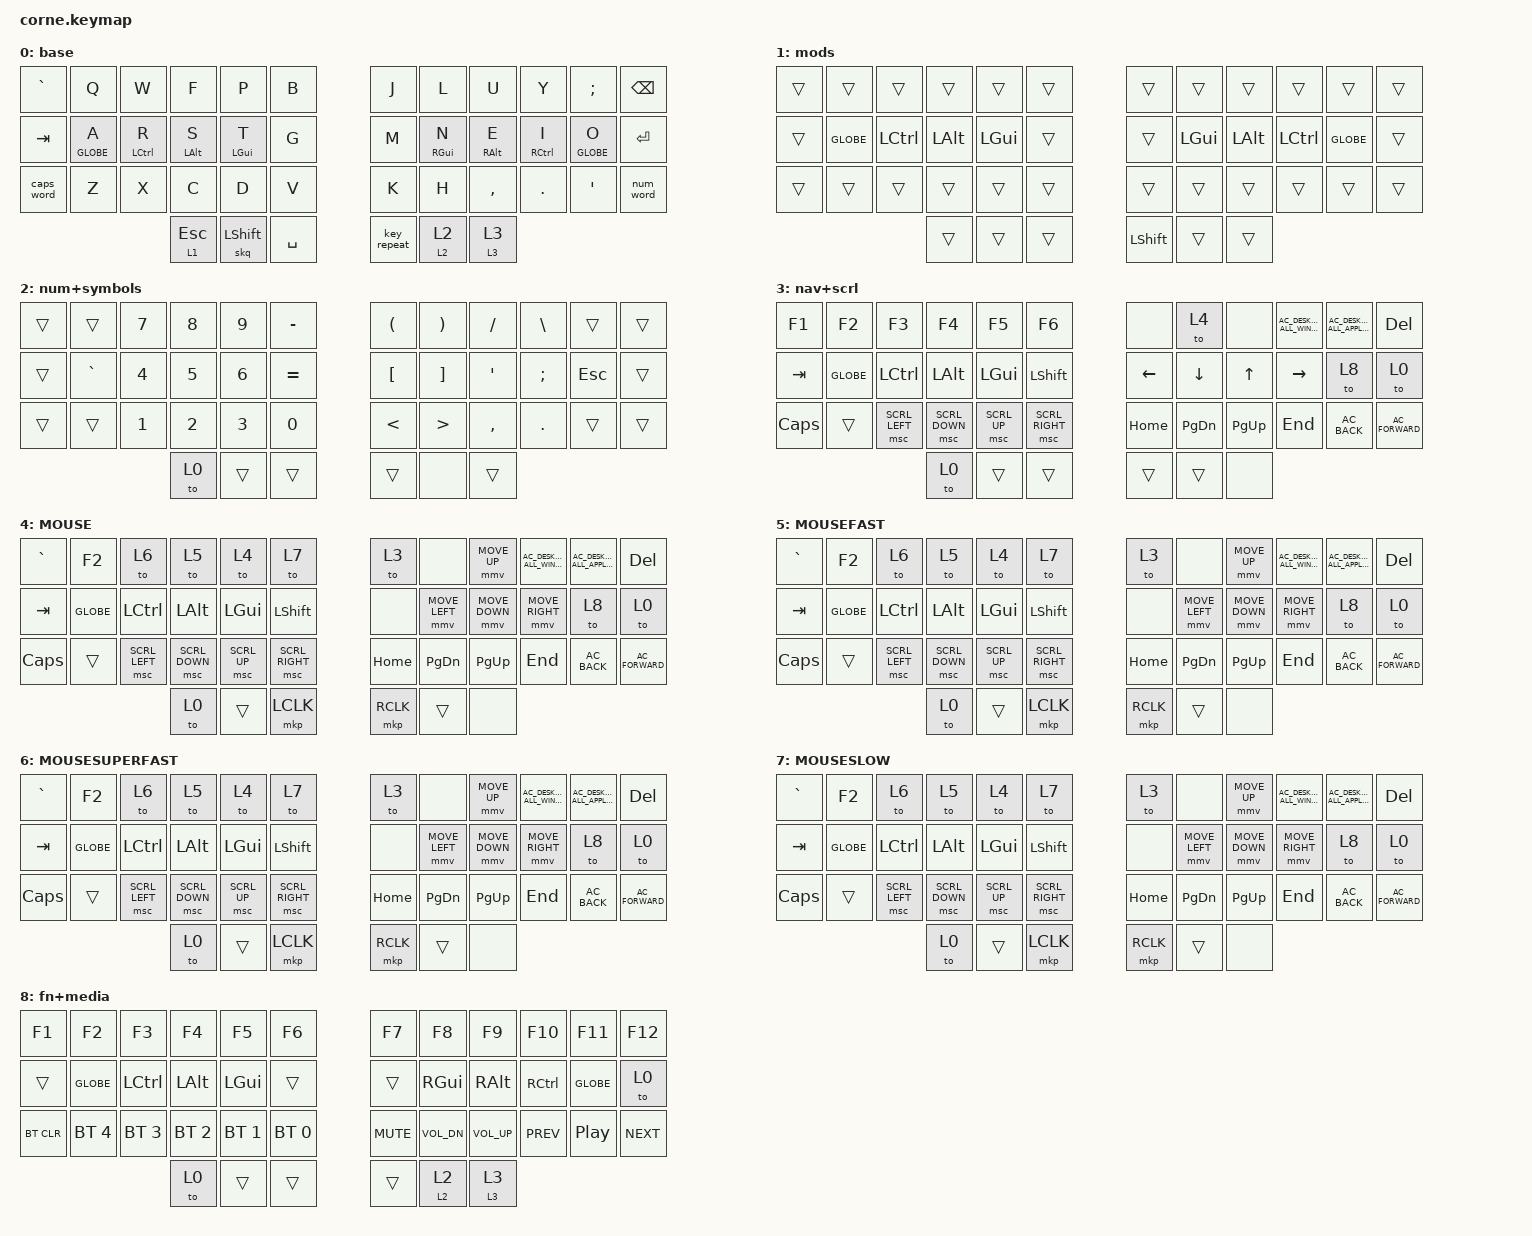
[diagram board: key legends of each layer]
/*
 * Copyright (c) 2020 The ZMK Contributors
 *
 * SPDX-License-Identifier: MIT
 */

#define ZMK_POINTING_DEFAULT_MOVE_VAL 1800
#define ZMK_POINTING_DEFAULT_SCRL_VAL 20

#include <input/processors.dtsi>
#include <behaviors.dtsi>
#include <behaviors/num_word.dtsi>
#include <dt-bindings/zmk/bt.h>
#include <dt-bindings/zmk/keys.h>
#include <dt-bindings/zmk/pointing.h>

#define MOUSE 4
#define MOUSEFAST 5
#define MOUSESUPERFAST 6
#define MOUSESLOW 7

// dt-formatter: indent = "  "
// dt-formatter: reindentMultilineIntegerCells = "dedent"

&mmv { acceleration-exponent = <0>; };

&mmv_input_listener {
  set_mouse_fast {
    layers = <MOUSEFAST>;
    input-processors = <&zip_xy_scaler 2 1>;
  };
};

&mmv_input_listener {
  set_mouse_super_fast {
    layers = <MOUSESUPERFAST>;
    input-processors = <&zip_xy_scaler 4 1>;
  };
};

&mmv_input_listener {
  set_mouse_slow {
    layers = <MOUSESLOW>;
    input-processors = <&zip_xy_scaler 1 2>;
  };
};

&num_word {
  continue-list = <BSPC DEL DOT COMMA LEFT DOWN UP RIGHT MINUS EQUAL LSHIFT LEFT_PARENTHESIS RIGHT_PARENTHESIS>;
};

/ {
  behaviors {
    hm: homerow_mods {
      compatible = "zmk,behavior-hold-tap";
      label = "HOMEROW_MODS";
      #binding-cells = <2>;
      tapping-term-ms = <300>;
      flavor = "balanced";
      bindings = <&kp>, <&kp>;

      quick-tap-ms = <200>;
      require-prior-idle-ms = <500>;
    };

    skq: sticky_key_quick_release {
      compatible = "zmk,behavior-sticky-key";
      bindings = <&kp>;
      #binding-cells = <1>;
      release-after-ms = <400>;
      quick-release;
      ignore-modifiers;
    };

    slq: slq {
      compatible = "zmk,behavior-sticky-key";
      label = "SLQ";
      bindings = <&mo>;
      #binding-cells = <1>;
      release-after-ms = <2000>;
      quick-release;
      ignore-modifiers;
    };

    moto: moto {
      compatible = "zmk,behavior-hold-tap";
      label = "MOTO";
      bindings = <&mo>, <&to>;

      #binding-cells = <2>;
      flavor = "hold-preferred";
      tapping-term-ms = <300>;
    };

    tm: tm {
      compatible = "zmk,behavior-hold-tap";
      label = "TM";
      bindings = <&mo>, <&kp>;

      #binding-cells = <2>;
      tapping-term-ms = <250>;
      hold-trigger-key-positions = <16 15 14 13 19 20 21 22>;
    };
  };

  combos { compatible = "zmk,combos"; };

  keymap {
    compatible = "zmk,keymap";

    base {
      bindings = <
&kp GRAVE   &kp Q        &kp W        &kp F       &kp P       &kp B        &kp J        &kp L       &kp U       &kp Y        &kp SEMI     &kp BSPC
&kp TAB     &hm GLOBE A  &hm LCTRL R  &hm LALT S  &hm LGUI T  &kp G        &kp M        &hm RGUI N  &hm RALT E  &hm RCTRL I  &hm GLOBE O  &kp ENTER
&caps_word  &kp Z        &kp X        &kp C       &kp D       &kp V        &kp K        &kp H       &kp COMMA   &kp DOT      &kp SQT      &num_word
                                      &tm 1 ESC   &skq LSHFT  &kp SPACE    &key_repeat  &moto 2 2   &moto 3 3
      >;
    };

    mods {
      bindings = <
&trans  &trans     &trans     &trans    &trans    &trans    &trans      &trans    &trans    &trans     &trans     &trans
&trans  &kp GLOBE  &kp LCTRL  &kp LALT  &kp LGUI  &trans    &trans      &kp LGUI  &kp LALT  &kp LCTRL  &kp GLOBE  &trans
&trans  &trans     &trans     &trans    &trans    &trans    &trans      &trans    &trans    &trans     &trans     &trans
                              &trans    &trans    &trans    &kp LSHIFT  &trans    &trans
      >;
    };

    num+symbols {
      bindings = <
&trans  &trans     &kp N7  &kp N8  &kp N9  &kp MINUS    &kp LEFT_PARENTHESIS  &kp RIGHT_PARENTHESIS  &kp FSLH   &kp BSLH  &trans   &trans
&trans  &kp GRAVE  &kp N4  &kp N5  &kp N6  &kp EQUAL    &kp LBKT              &kp RBKT               &kp SQT    &kp SEMI  &kp ESC  &trans
&trans  &trans     &kp N1  &kp N2  &kp N3  &kp N0       &kp LESS_THAN         &kp GREATER_THAN       &kp COMMA  &kp DOT   &trans   &trans
                           &to 0   &trans  &trans       &trans                &none                  &trans
      >;
    };

    nav+scrl {
      bindings = <
&kp F1        &kp F2     &kp F3          &kp F4          &kp F5        &kp F6             &none     &to 4      &none      &kp C_AC_DESKTOP_SHOW_ALL_WINDOWS  &kp C_AC_DESKTOP_SHOW_ALL_APPLICATIONS  &kp DELETE
&kp TAB       &kp GLOBE  &kp LCTRL       &kp LALT        &kp LGUI      &kp LSHFT          &kp LEFT  &kp DOWN   &kp UP     &kp RIGHT                          &to 8                                   &to 0
&kp CAPSLOCK  &trans     &msc SCRL_LEFT  &msc SCRL_DOWN  &msc SCRL_UP  &msc SCRL_RIGHT    &kp HOME  &kp PG_DN  &kp PG_UP  &kp END                            &kp C_AC_BACK                           &kp C_AC_FORWARD
                                         &to 0           &trans        &trans             &trans    &trans     &none
      >;
    };

    MOUSE {
      bindings = <
&kp GRAVE     &kp F2     &to 6           &to 5           &to 4         &to 7              &to 3      &none           &mmv MOVE_UP    &kp C_AC_DESKTOP_SHOW_ALL_WINDOWS  &kp C_AC_DESKTOP_SHOW_ALL_APPLICATIONS  &kp DELETE
&kp TAB       &kp GLOBE  &kp LCTRL       &kp LALT        &kp LGUI      &kp LSHFT          &none      &mmv MOVE_LEFT  &mmv MOVE_DOWN  &mmv MOVE_RIGHT                    &to 8                                   &to 0
&kp CAPSLOCK  &trans     &msc SCRL_LEFT  &msc SCRL_DOWN  &msc SCRL_UP  &msc SCRL_RIGHT    &kp HOME   &kp PG_DN       &kp PG_UP       &kp END                            &kp C_AC_BACK                           &kp C_AC_FORWARD
                                         &to 0           &trans        &mkp LCLK          &mkp RCLK  &trans          &none
      >;
    };

    MOUSEFAST {
      bindings = <
&kp GRAVE     &kp F2     &to 6           &to 5           &to 4         &to 7              &to 3      &none           &mmv MOVE_UP    &kp C_AC_DESKTOP_SHOW_ALL_WINDOWS  &kp C_AC_DESKTOP_SHOW_ALL_APPLICATIONS  &kp DELETE
&kp TAB       &kp GLOBE  &kp LCTRL       &kp LALT        &kp LGUI      &kp LSHFT          &none      &mmv MOVE_LEFT  &mmv MOVE_DOWN  &mmv MOVE_RIGHT                    &to 8                                   &to 0
&kp CAPSLOCK  &trans     &msc SCRL_LEFT  &msc SCRL_DOWN  &msc SCRL_UP  &msc SCRL_RIGHT    &kp HOME   &kp PG_DN       &kp PG_UP       &kp END                            &kp C_AC_BACK                           &kp C_AC_FORWARD
                                         &to 0           &trans        &mkp LCLK          &mkp RCLK  &trans          &none
      >;
    };

    MOUSESUPERFAST {
      bindings = <
&kp GRAVE     &kp F2     &to 6           &to 5           &to 4         &to 7              &to 3      &none           &mmv MOVE_UP    &kp C_AC_DESKTOP_SHOW_ALL_WINDOWS  &kp C_AC_DESKTOP_SHOW_ALL_APPLICATIONS  &kp DELETE
&kp TAB       &kp GLOBE  &kp LCTRL       &kp LALT        &kp LGUI      &kp LSHFT          &none      &mmv MOVE_LEFT  &mmv MOVE_DOWN  &mmv MOVE_RIGHT                    &to 8                                   &to 0
&kp CAPSLOCK  &trans     &msc SCRL_LEFT  &msc SCRL_DOWN  &msc SCRL_UP  &msc SCRL_RIGHT    &kp HOME   &kp PG_DN       &kp PG_UP       &kp END                            &kp C_AC_BACK                           &kp C_AC_FORWARD
                                         &to 0           &trans        &mkp LCLK          &mkp RCLK  &trans          &none
      >;
    };

    MOUSESLOW {
      bindings = <
&kp GRAVE     &kp F2     &to 6           &to 5           &to 4         &to 7              &to 3      &none           &mmv MOVE_UP    &kp C_AC_DESKTOP_SHOW_ALL_WINDOWS  &kp C_AC_DESKTOP_SHOW_ALL_APPLICATIONS  &kp DELETE
&kp TAB       &kp GLOBE  &kp LCTRL       &kp LALT        &kp LGUI      &kp LSHFT          &none      &mmv MOVE_LEFT  &mmv MOVE_DOWN  &mmv MOVE_RIGHT                    &to 8                                   &to 0
&kp CAPSLOCK  &trans     &msc SCRL_LEFT  &msc SCRL_DOWN  &msc SCRL_UP  &msc SCRL_RIGHT    &kp HOME   &kp PG_DN       &kp PG_UP       &kp END                            &kp C_AC_BACK                           &kp C_AC_FORWARD
                                         &to 0           &trans        &mkp LCLK          &mkp RCLK  &trans          &none
      >;
    };

    fn+media {
      bindings = <
&kp F1      &kp F2        &kp F3        &kp F4        &kp F5        &kp F6          &kp F7      &kp F8        &kp F9        &kp F10     &kp F11    &kp F12
&trans      &kp GLOBE     &kp LCTRL     &kp LALT      &kp LGUI      &trans          &trans      &kp RGUI      &kp RALT      &kp RCTRL   &kp GLOBE  &to 0
&bt BT_CLR  &bt BT_SEL 4  &bt BT_SEL 3  &bt BT_SEL 2  &bt BT_SEL 1  &bt BT_SEL 0    &kp K_MUTE  &kp C_VOL_DN  &kp C_VOL_UP  &kp C_PREV  &kp C_PP   &kp C_NEXT
                                        &to 0         &trans        &trans          &trans      &moto 2 2     &moto 3 3
      >;
    };
  };
};
